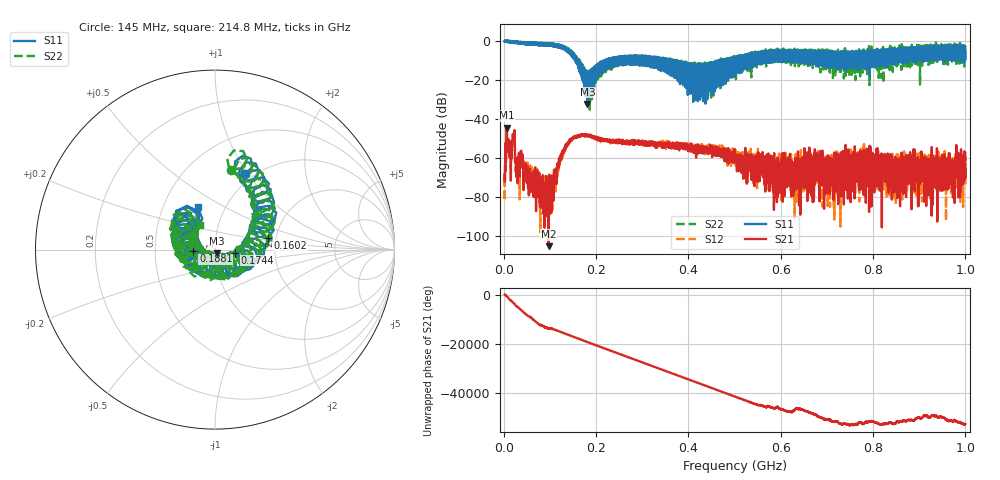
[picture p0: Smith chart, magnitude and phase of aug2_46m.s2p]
!Keysight Technologies N9923A: A.12.45
!Date: Saturday, 02 August 2025 20:01:38
!Timezone: (UTC+08:00) Kuala Lumpur, Singapore
!Model: N9923A
!Serial: MY61181427
!GPS Latitude:
!GPS Longitude:
!GPS TimeStamp: 0001-01-01 00:00:00Z
!GPS Seconds Since Last Read: 0
!CHECKSUM:0346795477
!Correction: S11(ON U)S21(ON U)S12(ON U)S22(ON U)
!S2P File: Measurements:S11,S21,S12,S22:
# Hz S DB R 50
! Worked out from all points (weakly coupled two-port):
!   4001 points, 2 MHz to 1 GHz, reference 50 ohm
!   highest |S21| = -44.48 dB at 6.491 MHz (marker M1); lowest = -105.4 dB at 97.31 MHz (marker M2)
!   lowest |S11| = -32.4 dB at 181.1 MHz (marker M3), VSWR 1.05, Z = 51 - j2.21 ohm
!   |S11| at or under -10 dB: 162.4 MHz to 218.5 MHz (56.14 MHz wide, 29.5 % of centre); 218.6 MHz to 220.1 MHz (1.47 MHz wide, 0.67 % of centre); 369.5 MHz to 473 MHz (103.5 MHz wide, 24.6 % of centre) (the widest 3 of 363)
!   |S22| runs from -35.3 to 0.2 dB; largest |S21 - S12| = 0.0026
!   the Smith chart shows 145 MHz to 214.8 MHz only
!   S11 on the Smith chart (normalised r, x): 145 MHz: 0.91, +0.96; 160.2 MHz: 1.81, +0.27; 174.4 MHz: 1.25, -0.04; 188.1 MHz: 0.78, -0.02; 214.8 MHz: 0.74, +0.38
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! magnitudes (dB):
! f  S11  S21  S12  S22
! 2 MHz  -0.1  -72.2  -70.2  -0.1
! 6.491 MHz  0.0  -44.5  -45.1  0.1
! 19.46 MHz  -0.9  -48.3  -48.8  -0.9
! 29.69 MHz  -0.8  -68.3  -62.0  -0.9
! 36.93 MHz  -0.5  -57.2  -62.1  -0.6
! 57.39 MHz  -1.3  -67.9  -64.8  -1.2
! 97.31 MHz  -1.3  -105.4  -77.9  -1.2
! 145 MHz  -6.9  -51.0  -51.3  -6.9
! 160.2 MHz  -10.4  -48.6  -49.4  -11.2
! 168.4 MHz  -14.9  -48.6  -48.6  -16.0
! 174.4 MHz  -18.9  -48.3  -48.4  -15.2
! 181.1 MHz  -32.4  -48.5  -48.5  -19.2
! 188.1 MHz  -18.3  -49.0  -48.7  -26.4
! 214.8 MHz  -11.8  -51.4  -51.5  -15.9
! 334.8 MHz  -12.4  -52.6  -52.9  -8.9
! 415.4 MHz  -30.4  -54.2  -57.0  -13.7
! 501 MHz  -11.5  -61.7  -56.1  -12.6
! 602.5 MHz  -6.9  -64.9  -75.1  -6.8
! 667.4 MHz  -5.7  -66.0  -71.8  -9.5
! 833.8 MHz  -5.3  -77.9  -67.3  -5.1
! 983.3 MHz  -4.1  -67.6  -66.7  -2.8
! 1 GHz  -5.3  -65.8  -75.3  -1.8
